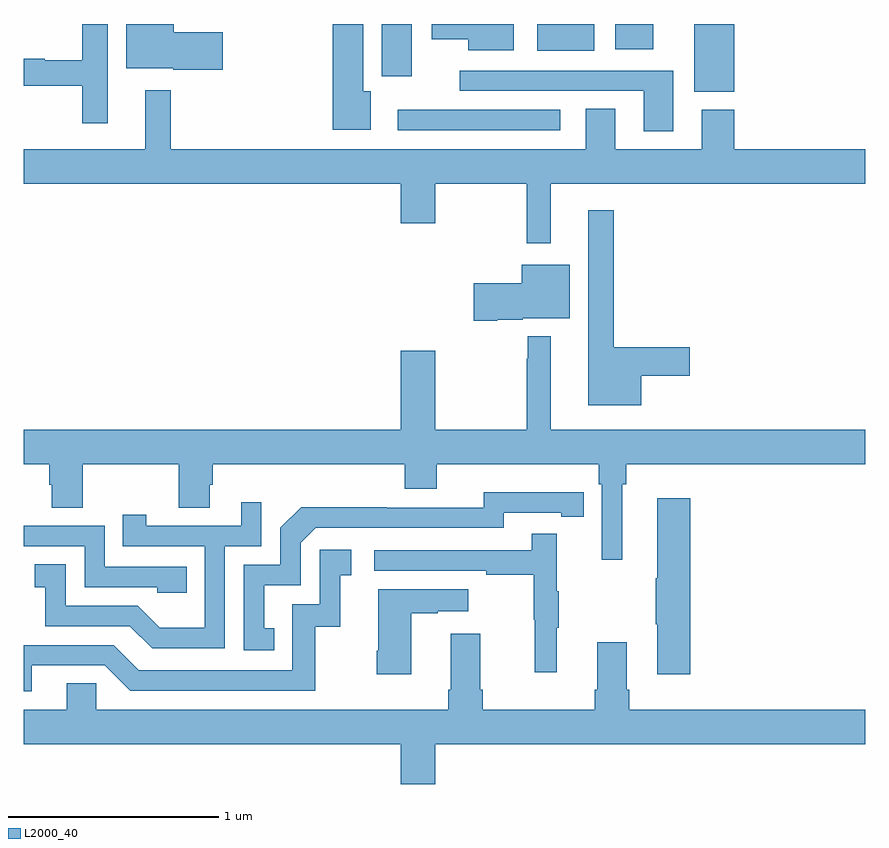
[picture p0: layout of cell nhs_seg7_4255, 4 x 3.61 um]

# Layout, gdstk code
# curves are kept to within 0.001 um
import gdstk
lib = gdstk.Library(unit=1e-6, precision=1e-09)
def R(c, l, rs):  # rectangles x0, y0, x1, y1
    for r in rs: c.add(gdstk.rectangle(r[:2], r[2:], *l))
def P(c, l, *ps):  # polygons
    for p in ps: c.add(gdstk.Polygon(p, *l))
L2000_40 = (2000, 40)

nhs_seg7_4255 = lib.new_cell('nhs_seg7_4255')
R(nhs_seg7_4255, L2000_40, [(380.778,1043.496,381.55,1043.592), (382.187,1043.678,382.378,1044), (380.702,1043.751,380.845,1044), (381.44,1043.873,381.712,1044), (381.812,1043.879,381.991,1044)])
P(nhs_seg7_4255, L2000_40, [(379.945,1043.96),(379.714,1043.96),(379.714,1044),(379.487,1044),(379.487,1043.789),(379.71,1043.789),(379.71,1043.782),(379.945,1043.782)],
  [(379.399,1044),(379.278,1044),(379.278,1043.827),(379.099,1043.827),(379.099,1043.834),(379,1043.834),(379,1043.706),(379.278,1043.706),(379.278,1043.529),(379.399,1043.529)],
  [(380.65,1043.68),(380.614,1043.68),(380.614,1044),(380.468,1044),(380.468,1043.498),(380.65,1043.498)],
  [(381.328,1044),(380.94,1044),(380.94,1043.927),(381.113,1043.927),(381.113,1043.876),(381.328,1043.876)],
  [(382.087,1043.778),(381.072,1043.778),(381.072,1043.682),(381.947,1043.682),(381.947,1043.49),(382.087,1043.49)],
  [(381.505,1043.24),(383,1043.24),(383,1043.404),(382.376,1043.404),(382.376,1043.593),(382.223,1043.593),(382.223,1043.404),(381.811,1043.404),(381.811,1043.597),(381.671,1043.597),(381.671,1043.404),(379.699,1043.404),(379.699,1043.686),(379.577,1043.686),(379.577,1043.404),(379,1043.404),(379,1043.24),(380.792,1043.24),(380.792,1043.052),(380.956,1043.052),(380.956,1043.24),(381.391,1043.24),(381.391,1042.959),(381.505,1042.959)],
  [(381.934,1042.328),(382.165,1042.328),(382.165,1042.463),(381.805,1042.463),(381.805,1043.116),(381.683,1043.116),(381.683,1042.187),(381.934,1042.187)],
  [(381.25,1042.594),(381.372,1042.594),(381.372,1042.601),(381.595,1042.601),(381.595,1042.855),(381.368,1042.855),(381.368,1042.767),(381.138,1042.767),(381.138,1042.589),(381.25,1042.589)],
  [(381.844,1041.812),(381.863,1041.812),(381.863,1041.908),(383,1041.908),(383,1042.072),(381.505,1042.072),(381.505,1042.516),(381.395,1042.516),(381.395,1042.409),(381.391,1042.409),(381.391,1042.072),(380.956,1042.072),(380.956,1042.447),(380.792,1042.447),(380.792,1042.072),(379,1042.072),(379,1041.908),(379.121,1041.908),(379.121,1041.81),(379.133,1041.81),(379.133,1041.7),(379.281,1041.7),(379.281,1041.908),(379.738,1041.908),(379.738,1041.7),(379.885,1041.7),(379.885,1041.81),(379.898,1041.81),(379.898,1041.908),(380.81,1041.908),(380.81,1041.791),(380.962,1041.791),(380.962,1041.908),(381.734,1041.908),(381.734,1041.812),(381.747,1041.812),(381.747,1041.453),(381.844,1041.453)],
  [(380.192,1041.129),(380.143,1041.129),(380.143,1041.333),(380.316,1041.333),(380.316,1041.534),(380.388,1041.606),(381.282,1041.606),(381.282,1041.678),(381.554,1041.678),(381.554,1041.658),(381.662,1041.658),(381.662,1041.774),(381.186,1041.775),(381.186,1041.702),(380.726,1041.702),(380.726,1041.704),(380.318,1041.704),(380.22,1041.606),(380.22,1041.429),(380.046,1041.429),(380.046,1041.024),(380.192,1041.024)],
  [(382.169,1041.745),(382.01,1041.745),(382.01,1041.365),(382.003,1041.365),(382.003,1041.148),(382.01,1041.148),(382.01,1040.91),(382.169,1040.91)],
  [(379.956,1041.519),(380.13,1041.519),(380.13,1041.727),(380.033,1041.727),(380.033,1041.615),(379.582,1041.615),(379.582,1041.667),(379.471,1041.667),(379.471,1041.519),(379.86,1041.519),(379.86,1041.13),(379.646,1041.13),(379.542,1041.234),(379.2,1041.234),(379.2,1041.433),(379.053,1041.433),(379.053,1041.323),(379.102,1041.323),(379.102,1041.138),(379.505,1041.138),(379.61,1041.033),(379.956,1041.033)],
  [(379.775,1041.42),(379.386,1041.42),(379.386,1041.615),(379,1041.615),(379,1041.519),(379.29,1041.519),(379.29,1041.324),(379.635,1041.324),(379.635,1041.297),(379.775,1041.297)],
  [(381.533,1041.131),(381.544,1041.131),(381.544,1041.305),(381.533,1041.305),(381.533,1041.577),(381.415,1041.577),(381.415,1041.498),(380.667,1041.498),(380.667,1041.402),(381.199,1041.402),(381.199,1041.382),(381.423,1041.382),(381.423,1041.168),(381.43,1041.168),(381.43,1040.919),(381.533,1040.919)],
  [(379.039,1040.952),(379.386,1040.952),(379.506,1040.832),(380.386,1040.832),(380.386,1041.135),(380.504,1041.135),(380.504,1041.381),(380.557,1041.381),(380.557,1041.502),(380.406,1041.502),(380.406,1041.243),(380.277,1041.243),(380.277,1040.928),(379.548,1040.928),(379.428,1041.048),(379,1041.048),(379,1040.829),(379.039,1040.829)],
  [(380.842,1041.199),(380.969,1041.199),(380.969,1041.209),(381.112,1041.209),(381.112,1041.313),(380.684,1041.313),(380.684,1041.022),(380.677,1041.022),(380.677,1040.91),(380.842,1040.91)],
  [(380.956,1040.576),(383,1040.576),(383,1040.74),(381.878,1040.74),(381.878,1040.836),(381.865,1040.836),(381.865,1041.061),(381.725,1041.061),(381.725,1040.836),(381.713,1040.836),(381.713,1040.74),(381.182,1040.74),(381.182,1040.836),(381.169,1040.836),(381.169,1041.103),(381.029,1041.103),(381.029,1040.836),(381.017,1040.836),(381.017,1040.74),(379.344,1040.74),(379.344,1040.867),(379.205,1040.867),(379.205,1040.74),(379,1040.74),(379,1040.576),(380.792,1040.576),(380.792,1040.388),(380.956,1040.388)])

lib.write_gds('nhs_seg7_4255.gds')
